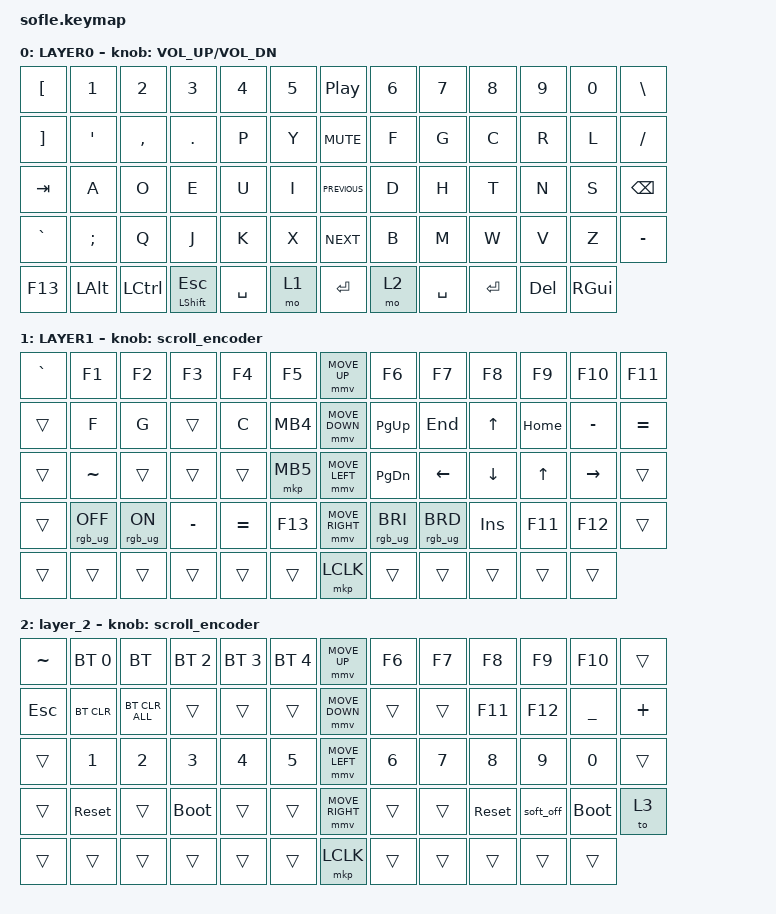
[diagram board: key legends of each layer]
#include <behaviors/mouse_keys.dtsi>
#include <behaviors.dtsi>
#include <dt-bindings/zmk/bt.h>
#include <dt-bindings/zmk/keys.h>
#include <dt-bindings/zmk/mouse.h>
#include <dt-bindings/zmk/outputs.h>
#include <dt-bindings/zmk/rgb.h>

#define ZMK_MOUSE_DEFAULT_MOVE_VAL 1200  // 600
#define ZMK_MOUSE_DEFAULT_SCRL_VAL 20    // 10
#define U_MS_U &mmv MOVE_UP
#define U_MS_D &mmv MOVE_DOWN
#define U_MS_L &mmv MOVE_LEFT
#define U_MS_R &mmv MOVE_RIGHT

/ {
	behaviors {
		mmv {
			acceleration-exponent = <1>;      // 1
			time-to-max-speed-ms = <900>;    // 40
			delay-ms = <0>;                   // 0
		};

		msc {
			acceleration-exponent = <1>;      // 0
			time-to-max-speed-ms = <400>;      // 500
			delay-ms = <0>;                   //   10
		};
	};

	scroll_encoder: scroll_encoder {
		compatible = "zmk,behavior-sensor-rotate";
		#sensor-binding-cells = <0>;
		bindings = <&msc SCRL_DOWN>, <&msc SCRL_UP>;

		tap-ms = <30>;
	};

	keymap {
		compatible = "zmk,keymap";

		layer0 {
			bindings = <
			&kp LEFT_BRACKET	&kp N1			&kp N2			&kp N3			&kp N4			&kp N5				&kp C_PLAY_PAUSE			&kp N6			&kp N7			&kp N8		&kp N9		&kp N0			&kp BSLH
			&kp RIGHT_BRACKET	&kp APOS		&kp COMMA		&kp DOT			&kp P			&kp Y				&kp C_MUTE					&kp F			&kp G			&kp C		&kp R		&kp L			&kp FSLH
			&kp TAB				&kp A			&kp O			&kp E			&kp U			&kp I				&kp C_PREVIOUS				&kp D			&kp H			&kp T		&kp N		&kp S			&kp BSPC
			&kp GRAVE			&kp SEMI		&kp Q			&kp J			&kp K			&kp X				&kp C_NEXT					&kp B			&kp M			&kp W		&kp V		&kp Z			&kp MINUS
			&kp F13				&kp LALT		&kp LCTRL		&mt LSHIFT ESC	&kp SPACE		&mo 1				&kp ENTER					&mo 2			&kp SPACE		&kp ENTER	&kp DELETE	&kp RGUI
			>;

			sensor-bindings = <&inc_dec_kp C_VOLUME_UP C_VOL_DN>;
			display-name = "LAYER0";
		};

		layer_1 {
			bindings = <
			&kp GRAVE			&kp F1			&kp F2			&kp F3			&kp F4			&kp F5				&mmv MOVE_UP				&kp F6			&kp F7			&kp F8		&kp F9		&kp F10			&kp F11
			&trans				&kp F			&kp G			&trans			&kp C			&kp MB4				&mmv MOVE_DOWN				&kp PG_UP		&kp END			&kp UP		&kp HOME	&kp MINUS		&kp EQUAL
			&trans				&kp TILDE		&trans			&trans			&trans			&mkp MB5			&mmv MOVE_LEFT				&kp PG_DN		&kp LEFT		&kp DOWN	&kp UP		&kp RIGHT		&trans
			&trans				&rgb_ug RGB_OFF	&rgb_ug RGB_ON	&kp MINUS		&kp EQUAL		&kp F13				&mmv MOVE_RIGHT				&rgb_ug RGB_BRI	&rgb_ug RGB_BRD	&kp INSERT	&kp F11		&kp F12			&trans
			&trans				&trans			&trans			&trans			&trans			&trans				&mkp LCLK					&trans			&trans			&trans		&trans		&trans
			>;

			sensor-bindings = <&scroll_encoder>;
			display-name = "LAYER1";
		};

		layer_2 {
			bindings = <
			&kp TILDE			&bt BT_SEL 0	&bt BT_SEL		&bt BT_SEL 2  	&bt BT_SEL 3	&bt BT_SEL 4		&mmv MOVE_UP				&kp F6			&kp F7			&kp F8      &kp F9		&kp F10			&trans
			&kp ESC				&bt BT_CLR		&bt BT_CLR_ALL  &trans			&trans			&trans				&mmv MOVE_DOWN				&trans			&trans			&kp F11     &kp F12		&kp UNDER		&kp PLUS
			&trans				&kp N1			&kp N2			&kp N3			&kp N4			&kp N5				&mmv MOVE_LEFT				&kp N6			&kp N7			&kp N8		&kp N9		&kp N0			&trans
			&trans				&sys_reset		&trans			&bootloader  	&trans			&trans				&mmv MOVE_RIGHT				&trans			&trans			&sys_reset  &soft_off  &bootloader		&to 3
			&trans				&trans			&trans			&trans       	&trans			&trans				&mkp LCLK					&trans			&trans			&trans      &trans     &trans
			>;

			sensor-bindings = <&scroll_encoder>;
		};

		
	};
};
